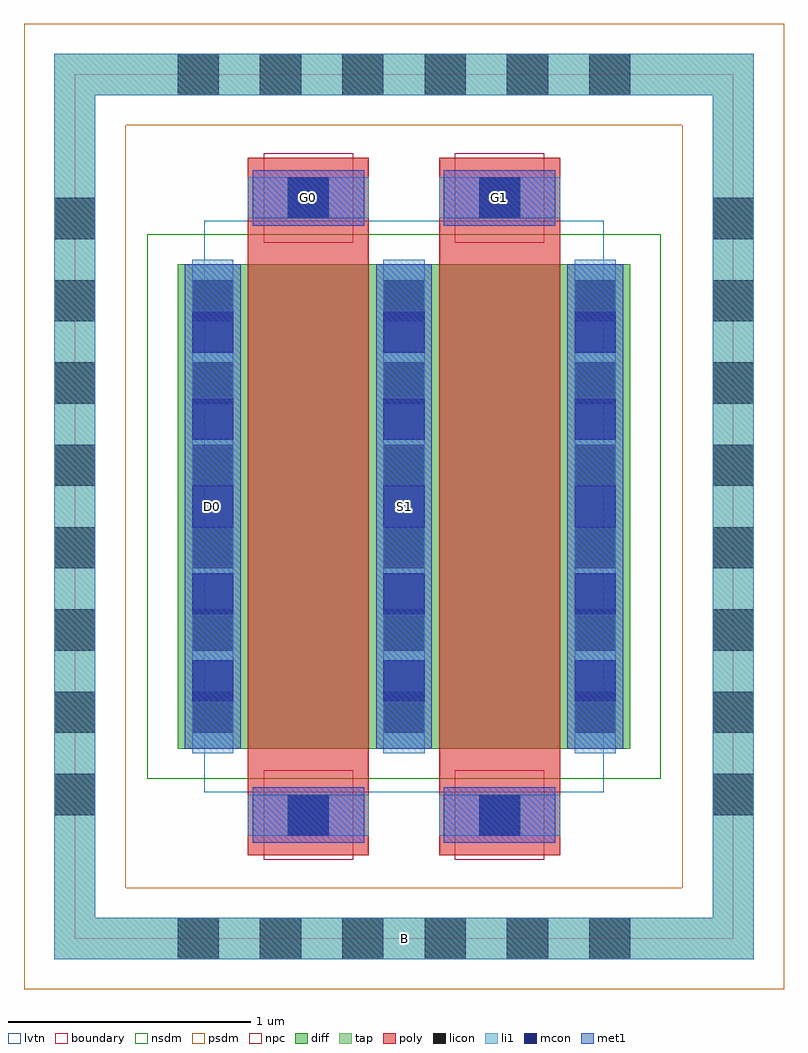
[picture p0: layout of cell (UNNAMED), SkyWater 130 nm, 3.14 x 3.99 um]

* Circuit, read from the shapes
.subckt (UNNAMED) B D0 G0 G1 S1
XM1 S1 G0 D0 B sky130_fd_pr__nfet_01v8_lvt w=2 l=0.5
XM2 n1 G1 S1 B sky130_fd_pr__nfet_01v8_lvt w=2 l=0.5
.ends

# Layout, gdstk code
import gdstk
lib = gdstk.Library(unit=1e-6, precision=1e-09)
def R(c, l, rs):  # rectangles x0, y0, x1, y1
    for r in rs: c.add(gdstk.rectangle(r[:2], r[2:], *l))
def A(c, l, x, y, w, h, nx, ny, dx, dy):  # array of equal rectangles
    R(c, l, [(x+i*dx, y+j*dy, x+i*dx+w, y+j*dy+h) for i in range(nx) for j in range(ny)])
diff = (65, 20)
tap = (65, 44)
poly = (66, 20)
licon = (66, 44)
li1 = (67, 20)
mcon = (67, 44)
met1 = (68, 20)
nsdm = (93, 44)
psdm = (94, 20)
npc = (95, 20)
lvtn = (125, 44)
boundary = (235, 4)

c__unnamed_ = lib.new_cell('(UNNAMED)')
R(c__unnamed_, diff, [(-0.935,-1,0.935,1)])
R(c__unnamed_, tap, [(-1.445,-1.87,1.445,-1.7), (-1.445,-1.7,-1.275,1.7), (1.275,-1.7,1.445,1.7), (-1.445,1.7,1.445,1.87)])
R(c__unnamed_, poly, [(-0.645,-1.44,-0.145,1.44), (0.145,-1.44,0.645,1.44)])
A(c__unnamed_, licon, -0.935, -1.87, 0.17, 0.17, 6, 2, 0.34, 3.57)
A(c__unnamed_, licon, -1.445, -1.275, 0.17, 0.17, 1, 8, 0, 0.34)
A(c__unnamed_, licon, 1.275, -1.275, 0.17, 0.17, 1, 8, 0, 0.34)
A(c__unnamed_, licon, -0.875, -0.935, 0.17, 0.17, 3, 6, 0.79, 0.34)
R(c__unnamed_, licon, [(-0.48,-1.36,-0.31,-1.19), (0.31,-1.36,0.48,-1.19), (-0.48,1.19,-0.31,1.36), (0.31,1.19,0.48,1.36)])
A(c__unnamed_, li1, -0.875, -1.02, 0.17, 2.04, 3, 1, 0.79, 0)
R(c__unnamed_, li1, [(-1.445,-1.87,1.445,-1.7), (-1.445,-1.7,-1.275,1.7), (1.275,-1.7,1.445,1.7), (-0.645,-1.36,-0.145,-1.19), (0.145,-1.36,0.645,-1.19), (-0.645,1.19,-0.145,1.36), (0.145,1.19,0.645,1.36), (-1.445,1.7,1.445,1.87)])
A(c__unnamed_, mcon, -0.875, -0.805, 0.17, 0.17, 3, 5, 0.79, 0.36)
R(c__unnamed_, mcon, [(-0.48,-1.36,-0.31,-1.19), (0.31,-1.36,0.48,-1.19), (-0.48,1.19,-0.31,1.36), (0.31,1.19,0.48,1.36)])
A(c__unnamed_, met1, -0.905, -1, 0.23, 2, 3, 1, 0.79, 0)
R(c__unnamed_, met1, [(-0.625,-1.39,-0.165,-1.16), (0.165,-1.39,0.625,-1.16), (-0.625,1.16,-0.165,1.39), (0.165,1.16,0.625,1.39)])
R(c__unnamed_, nsdm, [(-1.06,-1.125,1.06,1.125)])
R(c__unnamed_, psdm, [(-1.57,-1.995,1.57,-1.575), (-1.57,-1.575,-1.15,1.575), (1.15,-1.575,1.57,1.575), (-1.57,1.575,1.57,1.995)])
R(c__unnamed_, npc, [(-0.58,-1.46,-0.21,-1.09), (0.21,-1.46,0.58,-1.09), (-0.58,1.09,-0.21,1.46), (0.21,1.09,0.58,1.46)])
R(c__unnamed_, lvtn, [(-0.825,-1.18,0.825,1.18)])
R(c__unnamed_, boundary, [(-1.36,-1.785,1.36,1.785)])
c__unnamed_.add(gdstk.Label('B', (0,-1.785), layer=67, texttype=5))
c__unnamed_.add(gdstk.Label('D0', (-0.79,0), layer=67, texttype=5))
c__unnamed_.add(gdstk.Label('G0', (-0.395,1.275), layer=67, texttype=5))
c__unnamed_.add(gdstk.Label('S1', (0,0), layer=67, texttype=5))
c__unnamed_.add(gdstk.Label('G1', (0.395,1.275), layer=67, texttype=5))

lib.write_gds('_UNNAMED_.gds')
